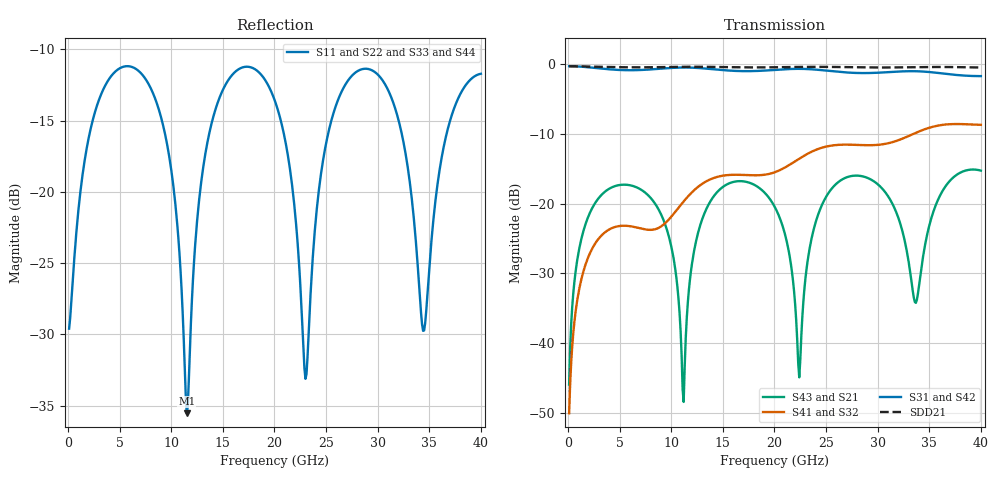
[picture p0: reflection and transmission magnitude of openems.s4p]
! thru_BV_ts_m2_per0_in: 2×thru F.Cu, 8 mm, pair
! stackup: as the board case
! ports: 1 near, 2 near, 3 far, 4 far
! openEMS 0.37.0, staircase, fine mesh (dfine 0.0175 mm), 725328 cells
# Hz S RI R 50
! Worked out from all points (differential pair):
!   400 points, 100 MHz to 40 GHz, reference 50 ohm
!   strongest paths, dB at 100 MHz, 10.1 GHz, 20.1 GHz, 30.1 GHz, 40 GHz:
!     S31: -0.3, -0.5, -0.8, -1.2, -1.7
!     S42: -0.3, -0.5, -0.8, -1.2, -1.7
!     S41: -50.1, -21.7, -15.5, -11.6, -8.7
!     S32: -50.1, -21.8, -15.6, -11.7, -8.8
!     S43: -45.9, -26.9, -20.7, -17.3, -15.3
!     S21: -45.9, -26.9, -20.7, -17.3, -15.3
!   taken as a pair (ports 1,2 in; 3,4 out), SDD21 dB: -0.3, -0.4, -0.4, -0.5, -0.5
!   lowest |S11| = -35.5 dB at 11.5 GHz (marker M1), VSWR 1.03, Z = 51.7 - j0.111 ohm
!   |S11| at or under -10 dB: start of sweep to end of sweep
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1e8  -0.0318 0.00913  0.00239 0.00443  0.9672 -0.0278  0.00201 -0.0024
     0.00239 0.00445  -0.0318 0.00913  0.00201 -0.00242  0.9672 -0.0278
     0.9672 -0.0278  0.00201 -0.0024  -0.0318 0.00913  0.00239 0.00443
     0.00201 -0.00242  0.9672 -0.0278  0.00239 0.00445  -0.0318 0.00913
4.1e9  0.2178 0.1285  0.1226 0.0407  0.3951 -0.8278  -0.0651 0.00795
       0.1227 0.0411  0.2178 0.1284  -0.0656 0.00772  0.3952 -0.8277
       0.3951 -0.8278  -0.0651 0.00795  0.2178 0.1285  0.1226 0.0407
       -0.0656 0.00772  0.3952 -0.8277  0.1227 0.0411  0.2178 0.1284
1.15e10  0.0167 -0.00107  0.00516 0.0126  -0.9444 -0.056  -0.000525 0.1087
         0.00532 0.0142  0.0167 -0.0011  -0.000624 0.1102  -0.9442 -0.056
         -0.9444 -0.056  -0.000525 0.1087  0.0167 -0.00107  0.00516 0.0126
         -0.000624 0.1102  -0.9442 -0.056  0.00532 0.0142  0.0167 -0.0011
1.68e10  0.2696 0.0408  0.1435 -0.019  -0.1834 0.8729  0.1584 -0.0127
         0.1439 -0.0173  0.2696 0.0406  0.1604 -0.0123  -0.1838 0.8725
         -0.1834 0.8729  0.1584 -0.0127  0.2696 0.0408  0.1435 -0.019
         0.1604 -0.0123  -0.1838 0.8725  0.1439 -0.0173  0.2696 0.0406
2.29e10  0.0223 -0.00901  -0.000684 0.0215  0.916 0.125  0.023 -0.2172
         -0.000102 0.0246  0.0224 -0.00905  0.0234 -0.2201  0.9152 0.125
         0.916 0.125  0.023 -0.2172  0.0223 -0.00901  -0.000684 0.0215
         0.0234 -0.2201  0.9152 0.125  -0.000102 0.0246  0.0224 -0.00905
3.01e10  0.2449 -0.0753  0.097 -0.0975  -0.1816 -0.8497  -0.2434 0.0942
         0.0976 -0.0945  0.2445 -0.0757  -0.2468 0.095  -0.1809 -0.8492
         -0.1816 -0.8497  -0.2434 0.0942  0.2449 -0.0753  0.097 -0.0975
         -0.2468 0.095  -0.1809 -0.8492  0.0976 -0.0945  0.2445 -0.0757
4e10  0.2598 0.0056  0.153 -0.0802  -0.1891 0.7992  0.3621 0.0302
      0.1547 -0.0766  0.2593 0.00495  0.3662 0.031  -0.1898 0.7974
      -0.1891 0.7992  0.3621 0.0302  0.2598 0.0056  0.153 -0.0802
      0.3662 0.031  -0.1898 0.7974  0.1547 -0.0766  0.2593 0.00495
